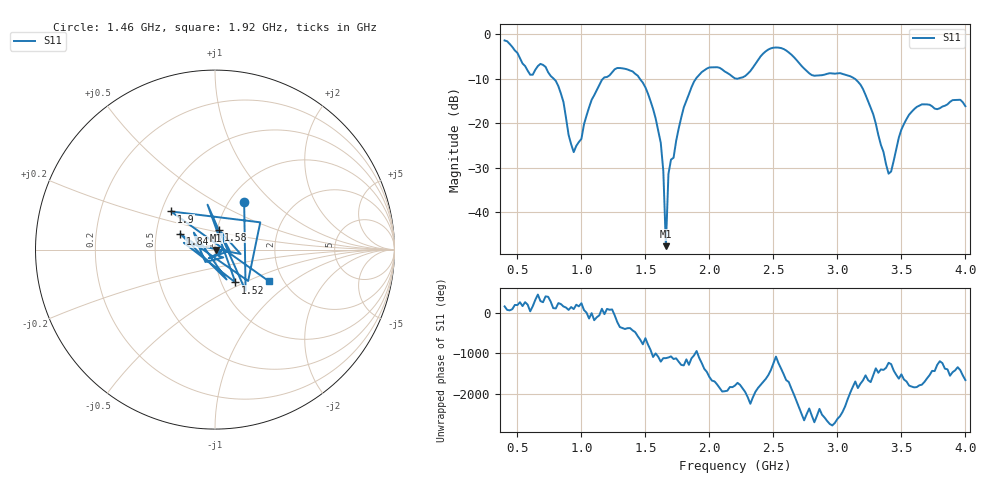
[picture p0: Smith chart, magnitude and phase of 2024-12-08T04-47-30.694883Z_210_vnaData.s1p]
!Created with skrf (http://scikit-rf.org).
# Hz S RI R 50.0
!freq ReS11 ImS11
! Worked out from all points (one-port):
!   181 points, 400 MHz to 4 GHz, reference 50 ohm
!   lowest |S11| = -47.6 dB at 1.66 GHz (marker M1), VSWR 1.01, Z = 50.3 - j0.26 ohm
!   |S11| at or under -10 dB: 784.2 MHz to 1.168 GHz (384.2 MHz wide, 39.4 % of centre); 1.457 GHz to 1.894 GHz (437.7 MHz wide, 26.1 % of centre); 3.137 GHz to end of sweep
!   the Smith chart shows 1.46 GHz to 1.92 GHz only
!   S11 on the Smith chart (normalised r, x): 1.46 GHz: 1.17, +0.69; 1.52 GHz: 1.17, -0.45; 1.58 GHz: 1.02, +0.23; 1.84 GHz: 0.67, +0.12; 1.9 GHz: 0.56, +0.27; 1.92 GHz: 1.69, -0.68
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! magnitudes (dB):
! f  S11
! 400 MHz  -1.4
! 600 MHz  -9.1
! 720 MHz  -7.3
! 860 MHz  -15.2
! 940 MHz  -26.5
! 1.16 GHz  -10.2
! 1.3 GHz  -7.6
! 1.46 GHz  -10.1
! 1.52 GHz  -13.3
! 1.58 GHz  -18.9
! 1.62 GHz  -24.4
! 1.64 GHz  -30.7
! 1.66 GHz  -47.6
! 1.68 GHz  -31.4
! 1.76 GHz  -21.2
! 1.84 GHz  -13.5
! 1.9 GHz  -9.8
! 1.92 GHz  -9.1
! 2.06 GHz  -7.4
! 2.2 GHz  -9.9
! 2.48 GHz  -3.1
! 2.66 GHz  -5.1
! 2.8 GHz  -9.2
! 3.1 GHz  -9.4
! 3.24 GHz  -15.0
! 3.4 GHz  -31.3
! 3.56 GHz  -18.1
! 4 GHz  -16.2
